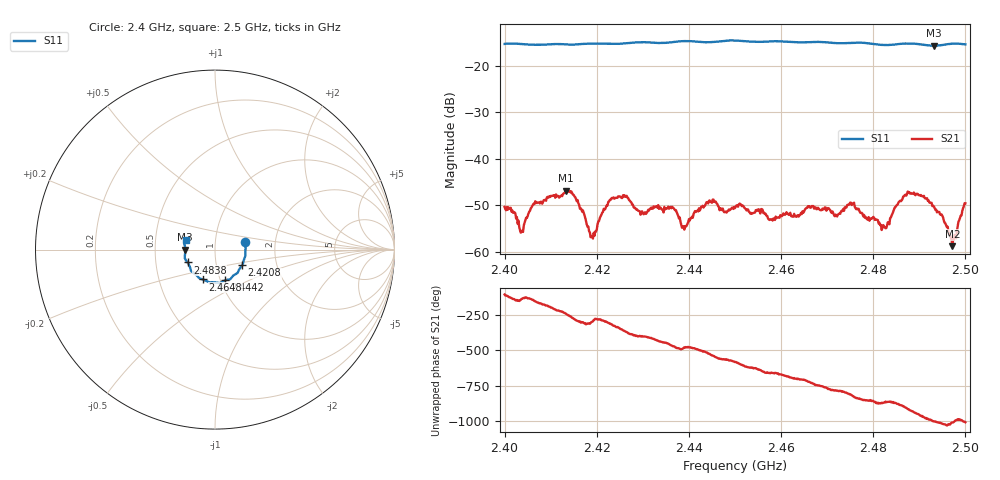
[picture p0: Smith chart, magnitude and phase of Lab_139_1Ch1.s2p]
# Hz S RI R 50
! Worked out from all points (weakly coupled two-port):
!   601 points, 2.4 GHz to 2.5 GHz, reference 50 ohm
!   highest |S21| = -46.84 dB at 2.4133 GHz (marker M1); lowest = -58.8 dB at 2.4972 GHz (marker M2)
!   lowest |S11| = -15.6 dB at 2.4932 GHz (marker M3), VSWR 1.40, Z = 35.8 - j0.0811 ohm
!   |S11| at or under -10 dB: start of sweep to end of sweep
!   S12 and S22 are empty: the file has one direction only
!   S11 on the Smith chart (normalised r, x): 2.4 GHz: 1.40, +0.12; 2.4208 GHz: 1.33, -0.24; 2.4442 GHz: 1.05, -0.37; 2.4648 GHz: 0.83, -0.28; 2.4838 GHz: 0.73, -0.11; 2.5 GHz: 0.72, +0.08
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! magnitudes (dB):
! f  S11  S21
! 2.4 GHz  -15.2  -50.4
! 2.4037 GHz  -15.3  -55.6
! 2.4063 GHz  -15.4  -49.7
! 2.4133 GHz  -15.3  -46.8
! 2.4167 GHz  -15.3  -50.8
! 2.419 GHz  -15.2  -56.8
! 2.4208 GHz  -15.2  -52.4
! 2.4247 GHz  -15.2  -48.1
! 2.4333 GHz  -15.0  -50.0
! 2.439 GHz  -14.6  -55.2
! 2.4442 GHz  -14.9  -49.6
! 2.45 GHz  -14.5  -50.6
! 2.4648 GHz  -14.9  -51.6
! 2.4667 GHz  -14.8  -50.2
! 2.472 GHz  -15.1  -52.2
! 2.4753 GHz  -15.0  -50.0
! 2.4833 GHz  -15.5  -53.8
! 2.4838 GHz  -15.4  -52.6
! 2.4878 GHz  -15.1  -47.2
! 2.4932 GHz  -15.6  -50.3
! 2.4972 GHz  -15.2  -58.8
! 2.5 GHz  -15.3  -49.6
